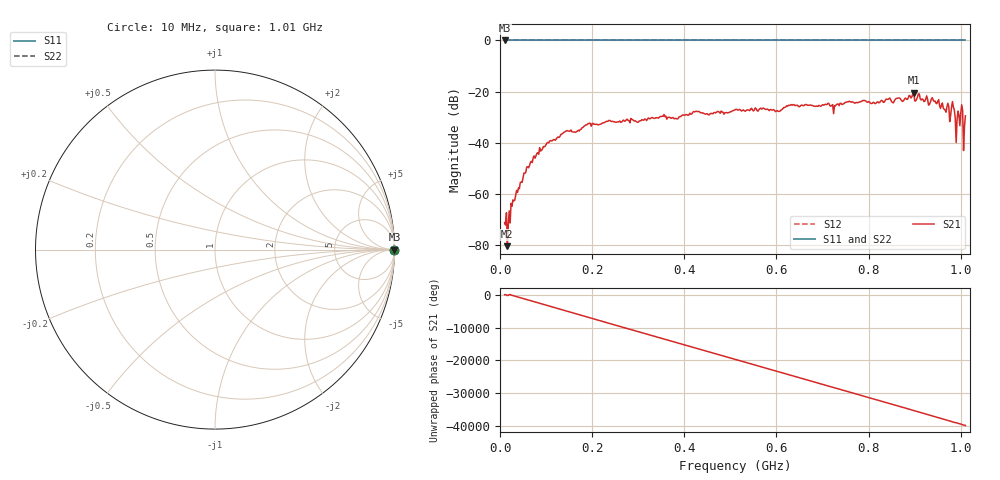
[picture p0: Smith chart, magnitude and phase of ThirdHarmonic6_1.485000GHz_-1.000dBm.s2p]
! 8/16/2025 5:22:44 PM
! C:\ANRITSUVNA\TEMP\TEMP.S2P
! CHANNEL.1
! TR.MEASUREMENT
! RAW.DATA
! RF.CORRECTION.OFF
! AVERAGING.OFF
! IF.BANDWIDTH: 5KHZ
! SWEEPTYPE:  FREQ.SWEEP(Linear)
! Reference Plane Port Info
! PORT:  PORT1  PORT2
! DISTANCE:  0  m  0  m
! TIME:  0  s  0  s
! PHASE.OFFSET:  0  deg.  0  deg.
! LOSS:  0  dB  0  dB
! REF.LOSS:  0  dB  0  dB
! REF.FREQ:  0  Hz  0  Hz
! Power Info
! POWER:  -20  dBm  -20  dBm
! EFF.POWER:  -20  dBm  -20  dBm
! SOURCE.ATTEN:  0  dB  0  dB
! TEST.ATTEN:  0  dB  0  dB
# GHZ S RI R 50.0
! FREQ.GHZ  S11RE  S11IM  S21RE  S21IM  S12RE  S12IM  S22RE  S22IM
!; PortSelection: Port_12
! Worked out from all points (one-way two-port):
!   501 points, 10 MHz to 1.01 GHz, reference 50 ohm
!   highest |S21| = -20.46 dB at 898 MHz (marker M1); lowest = -80.5 dB at 16 MHz (marker M2)
!   lowest |S11| = 0.0 dB at 10 MHz (marker M3)
!   |S11| at or under -10 dB: nowhere
!   |S22| runs from 0.0 to 0.0 dB; largest |S21 - S12| = 1.1
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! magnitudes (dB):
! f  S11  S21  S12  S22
! 10 MHz  0.0  -71.3  0.0  0.0
! 16 MHz  0.0  -80.5  0.0  0.0
! 20 MHz  0.0  -66.7  0.0  0.0
! 24 MHz  0.0  -63.8  0.0  0.0
! 32 MHz  0.0  -62.5  0.0  0.0
! 56 MHz  0.0  -51.5  0.0  0.0
! 76 MHz  0.0  -46.1  0.0  0.0
! 142 MHz  0.0  -35.7  0.0  0.0
! 178 MHz  0.0  -34.1  0.0  0.0
! 344 MHz  0.0  -30.4  0.0  0.0
! 510 MHz  0.0  -27.1  0.0  0.0
! 602 MHz  0.0  -27.5  0.0  0.0
! 630 MHz  0.0  -25.3  0.0  0.0
! 678 MHz  0.0  -25.4  0.0  0.0
! 844 MHz  0.0  -22.8  0.0  0.0
! 898 MHz  0.0  -20.5  0.0  0.0
! 982 MHz  0.0  -23.9  0.0  0.0
! 988 MHz  0.0  -30.7  0.0  0.0
! 994 MHz  0.0  -27.6  0.0  0.0
! 1 GHz  0.0  -28.2  0.0  0.0
! 1.002 GHz  0.0  -25.2  0.0  0.0
! 1.01 GHz  0.0  -29.5  0.0  0.0
